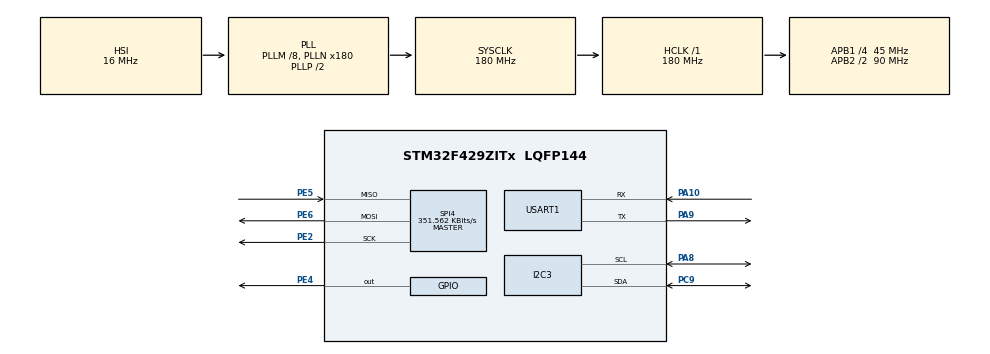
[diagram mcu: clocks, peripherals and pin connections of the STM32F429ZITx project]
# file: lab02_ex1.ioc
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I2C3.I2C_Mode=I2C_Fast
Mcu.Family=STM32F4
Mcu.Name=STM32F429ZITx
Mcu.Package=LQFP144
NVIC.PriorityGroup=NVIC_PRIORITYGROUP_4
PA10.Mode=Asynchronous
PA10.Signal=USART1_RX
PA13.Mode=Serial_Wire
PA13.Signal=SYS_JTMS-SWDIO
PA14.Mode=Serial_Wire
PA14.Signal=SYS_JTCK-SWCLK
PA8.Mode=I2C
PA8.Signal=I2C3_SCL
PA9.Mode=Asynchronous
PA9.Signal=USART1_TX
PC9.Mode=I2C
PC9.Signal=I2C3_SDA
PE2.Mode=Full_Duplex_Master
PE2.Signal=SPI4_SCK
PE4.Signal=GPIO_Output
PE5.Mode=Full_Duplex_Master
PE5.Signal=SPI4_MISO
PE6.Mode=Full_Duplex_Master
PE6.Signal=SPI4_MOSI
PH0/OSC_IN.Mode=HSE-External-Oscillator
PH0/OSC_IN.Signal=RCC_OSC_IN
PH1/OSC_OUT.Mode=HSE-External-Oscillator
PH1/OSC_OUT.Signal=RCC_OSC_OUT
ProjectManager.HeapSize=0x200
ProjectManager.StackSize=0x400
ProjectManager.TargetToolchain=STM32CubeIDE
RCC.48MHZClocksFreq_Value=90000000
RCC.AHBFreq_Value=180000000
RCC.APB1CLKDivider=RCC_HCLK_DIV4
RCC.APB1Freq_Value=45000000
RCC.APB1TimFreq_Value=90000000
RCC.APB2CLKDivider=RCC_HCLK_DIV2
RCC.APB2Freq_Value=90000000
RCC.APB2TimFreq_Value=180000000
RCC.CortexFreq_Value=180000000
RCC.HCLKFreq_Value=180000000
RCC.HSE_VALUE=25000000
RCC.HSI_VALUE=16000000
RCC.LSE_VALUE=32768
RCC.PLLM=8
RCC.PLLN=180
RCC.SYSCLKFreq_VALUE=180000000
RCC.SYSCLKSource=RCC_SYSCLKSOURCE_PLLCLK
RCC.VCOOutputFreq_Value=360000000
SPI4.BaudRatePrescaler=SPI_BAUDRATEPRESCALER_256
SPI4.CalculateBaudRate=351.562 KBits/s
SPI4.Direction=SPI_DIRECTION_2LINES
SPI4.Mode=SPI_MODE_MASTER
SPI4.VirtualType=VM_MASTER
USART1.VirtualMode=VM_ASYNC
board=custom

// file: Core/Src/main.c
/* USER CODE BEGIN Header */
/**
  ******************************************************************************
  * @file           : main.c
  * @brief          : Main program body
  ******************************************************************************
  * @attention
  *
  * Copyright (c) 2026 STMicroelectronics.
  * All rights reserved.
  *
  * This software is licensed under terms that can be found in the LICENSE file
  * in the root directory of this software component.
  * If no LICENSE file comes with this software, it is provided AS-IS.
  *
  ******************************************************************************
  */
/* USER CODE END Header */
#include "main.h"

/* USER CODE BEGIN Includes */
#include "stdio.h"
#include "string.h"
#include "SH1106.h"
#include "fonts.h"
#include "tm_stm32f4_mfrc522.h"

/* USER CODE END Includes */

I2C_HandleTypeDef hi2c3;

SPI_HandleTypeDef hspi4;

UART_HandleTypeDef huart1;

void SystemClock_Config(void);
static void MX_GPIO_Init(void);
static void MX_I2C3_Init(void);
static void MX_SPI4_Init(void);
static void MX_USART1_UART_Init(void);

/* USER CODE BEGIN 0 */
struct Time {
	uint8_t sec;
	uint8_t min;
	uint8_t hour;
	uint8_t weekday;
	uint8_t day;
	uint8_t month;
	uint8_t year;
};

uint8_t dec2bcd(uint8_t dec) { return ((dec / 10) << 4) | (dec % 10); }
uint8_t bcd2dec(uint8_t bcd) { return (bcd >> 4) * 10 + (bcd & 0x0F); }

HAL_StatusTypeDef SetTime(struct Time *t) {
	struct Time bcd;
	bcd.sec     = dec2bcd(t->sec);
	bcd.min     = dec2bcd(t->min);
	bcd.hour    = dec2bcd(t->hour);
	bcd.weekday = dec2bcd(t->weekday);
	bcd.day     = dec2bcd(t->day);
	bcd.month   = dec2bcd(t->month);
	bcd.year    = dec2bcd(t->year);
	return HAL_I2C_Mem_Write(&hi2c3, 0xD0, 0, 1, (uint8_t *)&bcd, 7, 1000);
}

HAL_StatusTypeDef GetTime(struct Time *t) {
	struct Time bcd;
	HAL_StatusTypeDef status = HAL_I2C_Mem_Read(&hi2c3, 0xD1, 0, 1, (uint8_t *)&bcd, 7, 1000);
	t->sec     = bcd2dec(bcd.sec);
	t->min     = bcd2dec(bcd.min);
	t->hour    = bcd2dec(bcd.hour);
	t->weekday = bcd2dec(bcd.weekday);
	t->day     = bcd2dec(bcd.day);
	t->month   = bcd2dec(bcd.month);
	t->year    = bcd2dec(bcd.year);
	return status;
}

void SetInitialTime() {
	struct Time t;
	t.sec = 0; t.min = 30; t.hour = 15;
	t.day = 9; t.month = 5; t.year = 26; t.weekday = 0;
	SetTime(&t);
}
/* USER CODE END 0 */

int main(void)
{

  /* MCU Configuration--------------------------------------------------------*/

  /* Reset of all peripherals, Initializes the Flash interface and the Systick. */
  HAL_Init();

  /* Configure the system clock */
  SystemClock_Config();

  /* Initialize all configured peripherals */
  MX_GPIO_Init();
  MX_I2C3_Init();
  MX_SPI4_Init();
  MX_USART1_UART_Init();
  /* USER CODE BEGIN 2 */
  SetInitialTime();
  SH1106_Init();
  // Reset I2C sau SH1106_Init để clear BUSY
  HAL_I2C_DeInit(&hi2c3);
  HAL_I2C_Init(&hi2c3);

  TM_MFRC522_Init();
  /* USER CODE END 2 */

  /* Infinite loop */
  /* USER CODE BEGIN WHILE */
  char buff[30];
  struct Time t;
  uint8_t cardID[5];

  while (1)
  {
    /* USER CODE END WHILE */

    /* USER CODE BEGIN 3 */
    // Đọc và hiển thị thời gian lên OLED
    GetTime(&t);
    sprintf(buff, "%02d:%02d:%02d", t.hour, t.min, t.sec);
    SH1106_GotoXY(10, 0);
    SH1106_Puts(buff, &Font_11x18, 1);

    sprintf(buff, "%02d/%02d/%02d", t.day, t.month, t.year);
    SH1106_GotoXY(10, 20);
    SH1106_Puts(buff, &Font_11x18, 1);

    // Đọc thẻ RFID — chỉ log khi có thẻ
    if (TM_MFRC522_Check(cardID) == MI_OK) {
        sprintf(buff, "%02X%02X%02X%02X%02X",
                cardID[0], cardID[1], cardID[2], cardID[3], cardID[4]);
        SH1106_GotoXY(10, 45);
        SH1106_Puts(buff, &Font_11x18, 1);

        char log[80];
        sprintf(log, "[%02d:%02d:%02d %02d/%02d/%02d] Card: %s\n",
                t.hour, t.min, t.sec, t.day, t.month, t.year, buff);
        HAL_UART_Transmit(&huart1, (uint8_t*)log, strlen(log), 1000);
    }

    SH1106_UpdateScreen();
    HAL_Delay(200);
  }
  /* USER CODE END 3 */
}

void SystemClock_Config(void)
{
  RCC_OscInitTypeDef RCC_OscInitStruct = {0};
  RCC_ClkInitTypeDef RCC_ClkInitStruct = {0};

  /** Configure the main internal regulator output voltage
  */
  __HAL_RCC_PWR_CLK_ENABLE();
  __HAL_PWR_VOLTAGESCALING_CONFIG(PWR_REGULATOR_VOLTAGE_SCALE1);

  /** Initializes the RCC Oscillators according to the specified parameters
  * in the RCC_OscInitTypeDef structure.
  */
  RCC_OscInitStruct.OscillatorType = RCC_OSCILLATORTYPE_HSI;
  RCC_OscInitStruct.HSIState = RCC_HSI_ON;
  RCC_OscInitStruct.HSICalibrationValue = RCC_HSICALIBRATION_DEFAULT;
  RCC_OscInitStruct.PLL.PLLState = RCC_PLL_ON;
  RCC_OscInitStruct.PLL.PLLSource = RCC_PLLSOURCE_HSI;
  RCC_OscInitStruct.PLL.PLLM = 8;
  RCC_OscInitStruct.PLL.PLLN = 180;
  RCC_OscInitStruct.PLL.PLLP = RCC_PLLP_DIV2;
  RCC_OscInitStruct.PLL.PLLQ = 4;
  if (HAL_RCC_OscConfig(&RCC_OscInitStruct) != HAL_OK)
  {
    Error_Handler();
  }

  /** Activate the Over-Drive mode
  */
  if (HAL_PWREx_EnableOverDrive() != HAL_OK)
  {
    Error_Handler();
  }

  /** Initializes the CPU, AHB and APB buses clocks
  */
  RCC_ClkInitStruct.ClockType = RCC_CLOCKTYPE_HCLK|RCC_CLOCKTYPE_SYSCLK
                              |RCC_CLOCKTYPE_PCLK1|RCC_CLOCKTYPE_PCLK2;
  RCC_ClkInitStruct.SYSCLKSource = RCC_SYSCLKSOURCE_PLLCLK;
  RCC_ClkInitStruct.AHBCLKDivider = RCC_SYSCLK_DIV1;
  RCC_ClkInitStruct.APB1CLKDivider = RCC_HCLK_DIV4;
  RCC_ClkInitStruct.APB2CLKDivider = RCC_HCLK_DIV2;

  if (HAL_RCC_ClockConfig(&RCC_ClkInitStruct, FLASH_LATENCY_5) != HAL_OK)
  {
    Error_Handler();
  }
}

static void MX_I2C3_Init(void)
{

  hi2c3.Instance = I2C3;
  hi2c3.Init.ClockSpeed = 400000;
  hi2c3.Init.DutyCycle = I2C_DUTYCYCLE_2;
  hi2c3.Init.OwnAddress1 = 0;
  hi2c3.Init.AddressingMode = I2C_ADDRESSINGMODE_7BIT;
  hi2c3.Init.DualAddressMode = I2C_DUALADDRESS_DISABLE;
  hi2c3.Init.OwnAddress2 = 0;
  hi2c3.Init.GeneralCallMode = I2C_GENERALCALL_DISABLE;
  hi2c3.Init.NoStretchMode = I2C_NOSTRETCH_DISABLE;
  if (HAL_I2C_Init(&hi2c3) != HAL_OK)
  {
    Error_Handler();
  }

  /** Configure Analogue filter
  */
  if (HAL_I2CEx_ConfigAnalogFilter(&hi2c3, I2C_ANALOGFILTER_ENABLE) != HAL_OK)
  {
    Error_Handler();
  }

  /** Configure Digital filter
  */
  if (HAL_I2CEx_ConfigDigitalFilter(&hi2c3, 0) != HAL_OK)
  {
    Error_Handler();
  }

}

static void MX_SPI4_Init(void)
{

  /* SPI4 parameter configuration*/
  hspi4.Instance = SPI4;
  hspi4.Init.Mode = SPI_MODE_MASTER;
  hspi4.Init.Direction = SPI_DIRECTION_2LINES;
  hspi4.Init.DataSize = SPI_DATASIZE_8BIT;
  hspi4.Init.CLKPolarity = SPI_POLARITY_LOW;
  hspi4.Init.CLKPhase = SPI_PHASE_1EDGE;
  hspi4.Init.NSS = SPI_NSS_SOFT;
  hspi4.Init.BaudRatePrescaler = SPI_BAUDRATEPRESCALER_256;
  hspi4.Init.FirstBit = SPI_FIRSTBIT_MSB;
  hspi4.Init.TIMode = SPI_TIMODE_DISABLE;
  hspi4.Init.CRCCalculation = SPI_CRCCALCULATION_DISABLE;
  hspi4.Init.CRCPolynomial = 10;
  if (HAL_SPI_Init(&hspi4) != HAL_OK)
  {
    Error_Handler();
  }

}

static void MX_USART1_UART_Init(void)
{

  huart1.Instance = USART1;
  huart1.Init.BaudRate = 115200;
  huart1.Init.WordLength = UART_WORDLENGTH_8B;
  huart1.Init.StopBits = UART_STOPBITS_1;
  huart1.Init.Parity = UART_PARITY_NONE;
  huart1.Init.Mode = UART_MODE_TX_RX;
  huart1.Init.HwFlowCtl = UART_HWCONTROL_NONE;
  huart1.Init.OverSampling = UART_OVERSAMPLING_16;
  if (HAL_UART_Init(&huart1) != HAL_OK)
  {
    Error_Handler();
  }

}

static void MX_GPIO_Init(void)
{
  GPIO_InitTypeDef GPIO_InitStruct = {0};

  /* GPIO Ports Clock Enable */
  __HAL_RCC_GPIOE_CLK_ENABLE();
  __HAL_RCC_GPIOH_CLK_ENABLE();
  __HAL_RCC_GPIOC_CLK_ENABLE();
  __HAL_RCC_GPIOA_CLK_ENABLE();

  /*Configure GPIO pin Output Level */
  HAL_GPIO_WritePin(GPIOE, GPIO_PIN_4, GPIO_PIN_RESET);

  /*Configure GPIO pin : PE4 */
  GPIO_InitStruct.Pin = GPIO_PIN_4;
  GPIO_InitStruct.Mode = GPIO_MODE_OUTPUT_PP;
  GPIO_InitStruct.Pull = GPIO_NOPULL;
  GPIO_InitStruct.Speed = GPIO_SPEED_FREQ_LOW;
  HAL_GPIO_Init(GPIOE, &GPIO_InitStruct);

}

void Error_Handler(void)
{
  __disable_irq();
  while (1)
  {
  }
}
